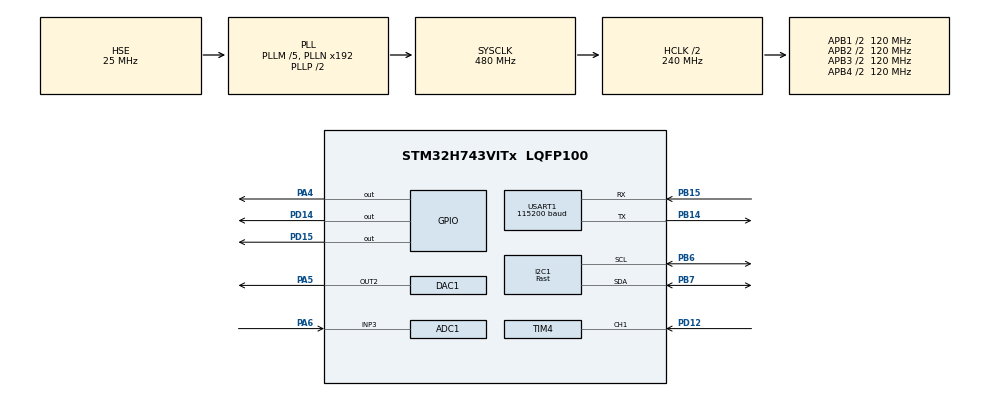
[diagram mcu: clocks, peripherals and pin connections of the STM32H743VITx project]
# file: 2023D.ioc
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ADC1.Channel-0\#ChannelRegularConversion=ADC_CHANNEL_3
ADC1.ContinuousConvMode=ENABLE
ADC1.ConversionDataManagement=ADC_CONVERSIONDATA_DMA_CIRCULAR
ADC1.DiscontinuousConvMode=DISABLE
ADC1.EnableInjectedConversion=DISABLE
ADC1.ExternalTrigConv=ADC_EXTERNALTRIG_T15_TRGO
ADC1.Mode=ADC_MODE_INDEPENDENT
ADC1.NbrOfConversion=1
ADC1.NbrOfConversionFlag=1
ADC1.OffsetNumber-0\#ChannelRegularConversion=ADC_OFFSET_NONE
ADC1.OffsetSignedSaturation-0\#ChannelRegularConversion=DISABLE
ADC1.OversamplingMode=DISABLE
ADC1.Rank-0\#ChannelRegularConversion=1
ADC1.SamplingTime-0\#ChannelRegularConversion=ADC_SAMPLETIME_387CYCLES_5
ADC1.master=1
CORTEX_M7.AccessPermission-Cortex_Memory_Protection_Unit_Region0_Settings=MPU_REGION_FULL_ACCESS
CORTEX_M7.AccessPermission-Cortex_Memory_Protection_Unit_Region1_Settings=MPU_REGION_FULL_ACCESS
CORTEX_M7.AccessPermission-Cortex_Memory_Protection_Unit_Region2_Settings=MPU_REGION_FULL_ACCESS
CORTEX_M7.AccessPermission-Cortex_Memory_Protection_Unit_Region3_Settings=MPU_REGION_FULL_ACCESS
CORTEX_M7.AccessPermission-Cortex_Memory_Protection_Unit_Region4_Settings=MPU_REGION_FULL_ACCESS
CORTEX_M7.AccessPermission_S-Cortex_Memory_Protection_Unit_Region1_Settings_S=MPU_REGION_FULL_ACCESS
CORTEX_M7.AccessPermission_S-Cortex_Memory_Protection_Unit_Region2_Settings_S=MPU_REGION_FULL_ACCESS
CORTEX_M7.AccessPermission_Spec=MPU_REGION_FULL_ACCESS
CORTEX_M7.BaseAddress-Cortex_Memory_Protection_Unit_Region0_Settings=0x24000000
CORTEX_M7.BaseAddress-Cortex_Memory_Protection_Unit_Region1_Settings=0x30000000
CORTEX_M7.BaseAddress-Cortex_Memory_Protection_Unit_Region2_Settings=0x30020000
CORTEX_M7.BaseAddress-Cortex_Memory_Protection_Unit_Region3_Settings=0x30040000
CORTEX_M7.BaseAddress-Cortex_Memory_Protection_Unit_Region4_Settings=0x38000000
CORTEX_M7.BaseAddress_S-Cortex_Memory_Protection_Unit_Region1_Settings_S=0x30000000
CORTEX_M7.BaseAddress_S-Cortex_Memory_Protection_Unit_Region2_Settings_S=0x30020000
CORTEX_M7.BaseAddress_Spec=0x24000000
CORTEX_M7.CPU_DCache=Enabled
CORTEX_M7.CPU_ICache=Enabled
CORTEX_M7.DisableExec_S-Cortex_Memory_Protection_Unit_Region1_Settings_S=MPU_INSTRUCTION_ACCESS_ENABLE
CORTEX_M7.DisableExec_S-Cortex_Memory_Protection_Unit_Region2_Settings_S=MPU_INSTRUCTION_ACCESS_ENABLE
CORTEX_M7.DisableExec_Spec=MPU_INSTRUCTION_ACCESS_ENABLE
CORTEX_M7.Enable-Cortex_Memory_Protection_Unit_Region0_Settings=MPU_REGION_ENABLE
CORTEX_M7.Enable-Cortex_Memory_Protection_Unit_Region1_Settings=MPU_REGION_ENABLE
CORTEX_M7.Enable-Cortex_Memory_Protection_Unit_Region2_Settings=MPU_REGION_ENABLE
CORTEX_M7.Enable-Cortex_Memory_Protection_Unit_Region3_Settings=MPU_REGION_ENABLE
CORTEX_M7.Enable-Cortex_Memory_Protection_Unit_Region4_Settings=MPU_REGION_ENABLE
CORTEX_M7.Enable_S-Cortex_Memory_Protection_Unit_Region1_Settings_S=MPU_REGION_ENABLE
CORTEX_M7.Enable_S-Cortex_Memory_Protection_Unit_Region2_Settings_S=MPU_REGION_ENABLE
CORTEX_M7.IsBufferable-Cortex_Memory_Protection_Unit_Region0_Settings=MPU_ACCESS_BUFFERABLE
CORTEX_M7.IsBufferable_S-Cortex_Memory_Protection_Unit_Region1_Settings_S=MPU_ACCESS_NOT_BUFFERABLE
CORTEX_M7.IsBufferable_Spec=MPU_ACCESS_BUFFERABLE
CORTEX_M7.IsCacheable-Cortex_Memory_Protection_Unit_Region0_Settings=MPU_ACCESS_CACHEABLE
CORTEX_M7.IsCacheable_S-Cortex_Memory_Protection_Unit_Region1_Settings_S=MPU_ACCESS_NOT_CACHEABLE
CORTEX_M7.IsCacheable_Spec=MPU_ACCESS_CACHEABLE
CORTEX_M7.IsShareable_Spec=MPU_ACCESS_NOT_SHAREABLE
CORTEX_M7.MPU_Control=MPU_PRIVILEGED_DEFAULT
CORTEX_M7.Size-Cortex_Memory_Protection_Unit_Region0_Settings=MPU_REGION_SIZE_512KB
CORTEX_M7.Size-Cortex_Memory_Protection_Unit_Region1_Settings=MPU_REGION_SIZE_128KB
CORTEX_M7.Size-Cortex_Memory_Protection_Unit_Region2_Settings=MPU_REGION_SIZE_128KB
CORTEX_M7.Size-Cortex_Memory_Protection_Unit_Region3_Settings=MPU_REGION_SIZE_32KB
CORTEX_M7.Size-Cortex_Memory_Protection_Unit_Region4_Settings=MPU_REGION_SIZE_64KB
CORTEX_M7.Size_S-Cortex_Memory_Protection_Unit_Region1_Settings_S=MPU_REGION_SIZE_128KB
CORTEX_M7.Size_S-Cortex_Memory_Protection_Unit_Region2_Settings_S=MPU_REGION_SIZE_128KB
CORTEX_M7.Size_Spec=MPU_REGION_SIZE_512KB
CORTEX_M7.SubRegionDisable_Spec=0x0
CORTEX_M7.TypeExtField-Cortex_Memory_Protection_Unit_Region0_Settings=MPU_TEX_LEVEL1
CORTEX_M7.TypeExtField-Cortex_Memory_Protection_Unit_Region1_Settings=MPU_TEX_LEVEL1
CORTEX_M7.TypeExtField-Cortex_Memory_Protection_Unit_Region2_Settings=MPU_TEX_LEVEL1
CORTEX_M7.TypeExtField-Cortex_Memory_Protection_Unit_Region3_Settings=MPU_TEX_LEVEL1
CORTEX_M7.TypeExtField-Cortex_Memory_Protection_Unit_Region4_Settings=MPU_TEX_LEVEL1
CORTEX_M7.TypeExtField_S-Cortex_Memory_Protection_Unit_Region1_Settings_S=MPU_TEX_LEVEL1
CORTEX_M7.TypeExtField_S-Cortex_Memory_Protection_Unit_Region2_Settings_S=MPU_TEX_LEVEL1
CORTEX_M7.TypeExtField_Spec=MPU_TEX_LEVEL1
DAC1.DAC2_OutputBuffer-DAC_OUT2=DAC_OUTPUTBUFFER_DISABLE
DAC1.DAC_Channel-DAC_OUT2=DAC_CHANNEL_2
DAC1.DAC_Trigger-DAC_OUT2=DAC_TRIGGER_T6_TRGO
Dma.ADC1.1.Direction=DMA_PERIPH_TO_MEMORY
Dma.ADC1.1.EventEnable=DISABLE
Dma.ADC1.1.FIFOMode=DMA_FIFOMODE_DISABLE
Dma.ADC1.1.Instance=DMA1_Stream0
Dma.ADC1.1.MemDataAlignment=DMA_MDATAALIGN_HALFWORD
Dma.ADC1.1.MemInc=DMA_MINC_ENABLE
Dma.ADC1.1.Mode=DMA_NORMAL
Dma.ADC1.1.PeriphDataAlignment=DMA_PDATAALIGN_HALFWORD
Dma.ADC1.1.PeriphInc=DMA_PINC_DISABLE
Dma.ADC1.1.Polarity=HAL_DMAMUX_REQ_GEN_RISING
Dma.ADC1.1.Priority=DMA_PRIORITY_LOW
Dma.ADC1.1.RequestNumber=1
Dma.ADC1.1.SignalID=NONE
Dma.ADC1.1.SyncEnable=DISABLE
Dma.ADC1.1.SyncPolarity=HAL_DMAMUX_SYNC_NO_EVENT
Dma.ADC1.1.SyncRequestNumber=1
Dma.ADC1.1.SyncSignalID=NONE
Dma.DAC1_CH2.0.Direction=DMA_MEMORY_TO_PERIPH
Dma.DAC1_CH2.0.EventEnable=DISABLE
Dma.DAC1_CH2.0.FIFOMode=DMA_FIFOMODE_DISABLE
Dma.DAC1_CH2.0.Instance=DMA1_Stream1
Dma.DAC1_CH2.0.MemDataAlignment=DMA_MDATAALIGN_HALFWORD
Dma.DAC1_CH2.0.MemInc=DMA_MINC_ENABLE
Dma.DAC1_CH2.0.Mode=DMA_CIRCULAR
Dma.DAC1_CH2.0.PeriphDataAlignment=DMA_PDATAALIGN_HALFWORD
Dma.DAC1_CH2.0.PeriphInc=DMA_PINC_DISABLE
Dma.DAC1_CH2.0.Polarity=HAL_DMAMUX_REQ_GEN_RISING
Dma.DAC1_CH2.0.Priority=DMA_PRIORITY_LOW
Dma.DAC1_CH2.0.RequestNumber=1
Dma.DAC1_CH2.0.SignalID=NONE
Dma.DAC1_CH2.0.SyncEnable=DISABLE
Dma.DAC1_CH2.0.SyncPolarity=HAL_DMAMUX_SYNC_NO_EVENT
Dma.DAC1_CH2.0.SyncRequestNumber=1
Dma.DAC1_CH2.0.SyncSignalID=NONE
Dma.Request0=DAC1_CH2
Dma.Request1=ADC1
I2C1.I2C_Speed_Mode=I2C_Fast
I2C1.Timing=0x00B03FDB
Mcu.Family=STM32H7
Mcu.Name=STM32H743VITx
Mcu.Package=LQFP100
NVIC.DMA1_Stream0_IRQn=true\:0\:0\:false\:false\:true\:false\:true\:true
NVIC.DMA1_Stream1_IRQn=true\:0\:0\:false\:false\:true\:false\:true\:true
NVIC.PriorityGroup=NVIC_PRIORITYGROUP_4
NVIC.TIM4_IRQn=true\:0\:0\:false\:false\:true\:true\:true\:true
NVIC.USART1_IRQn=true\:0\:0\:false\:false\:true\:true\:true\:true
PA13\ (JTMS/SWDIO).Mode=Serial_Wire
PA13\ (JTMS/SWDIO).Signal=DEBUG_JTMS-SWDIO
PA14\ (JTCK/SWCLK).Mode=Serial_Wire
PA14\ (JTCK/SWCLK).Signal=DEBUG_JTCK-SWCLK
PA4.Signal=GPIO_Output
PA5.Signal=COMP_DAC12_group
PA6.GPIO_Mode=GPIO_MODE_ANALOG
PA6.GPIO_PuPd=GPIO_NOPULL
PA6.Signal=ADCx_INP3
PB14.Mode=Asynchronous
PB14.Signal=USART1_TX
PB15.Mode=Asynchronous
PB15.Signal=USART1_RX
PB6.Mode=I2C
PB6.Signal=I2C1_SCL
PB7.Mode=I2C
PB7.Signal=I2C1_SDA
PD12.Signal=S_TIM4_CH1
PD14.Signal=GPIO_Output
PD15.Signal=GPIO_Output
PH0-OSC_IN\ (PH0).Mode=HSE-External-Oscillator
PH0-OSC_IN\ (PH0).Signal=RCC_OSC_IN
PH1-OSC_OUT\ (PH1).Mode=HSE-External-Oscillator
PH1-OSC_OUT\ (PH1).Signal=RCC_OSC_OUT
ProjectManager.HeapSize=0x3000
ProjectManager.StackSize=0x1000
ProjectManager.TargetToolchain=STM32CubeIDE
RCC.ADCFreq_Value=80000000
RCC.APB1Freq_Value=120000000
RCC.APB2Freq_Value=120000000
RCC.APB3Freq_Value=120000000
RCC.APB4Freq_Value=120000000
RCC.CortexFreq_Value=480000000
RCC.D1PPRE=RCC_APB3_DIV2
RCC.D2PPRE1=RCC_APB1_DIV2
RCC.D2PPRE2=RCC_APB2_DIV2
RCC.D3PPRE=RCC_APB4_DIV2
RCC.DIVM1=5
RCC.DIVM2=10
RCC.DIVN1=192
RCC.DIVN2=384
RCC.DIVN3=128
RCC.DIVP2=12
RCC.HCLKFreq_Value=240000000
RCC.HPRE=RCC_HCLK_DIV2
RCC.HSE_Timout=5000
RCC.PLLSourceVirtual=RCC_PLLSOURCE_HSE
RCC.ProductRev=revV
RCC.SYSCLKFreq_VALUE=480000000
RCC.SYSCLKSource=RCC_SYSCLKSOURCE_PLLCLK
RCC.USBFreq_Value=480000000
SH.ADCx_INP3.0=ADC1_INP3,IN3-Single-Ended
SH.COMP_DAC12_group.0=DAC1_OUT2,DAC_OUT2
SH.S_TIM4_CH1.0=TIM4_CH1,TriggerSource_TI1FP1
SH.S_TIM4_CH1.1=TIM4_CH1,Input_Capture1_from_TI1
TIM15.AutoReloadPreload=TIM_AUTORELOAD_PRELOAD_ENABLE
TIM15.ClockDivision=TIM_CLOCKDIVISION_DIV1
TIM15.Period=2-1
TIM15.Prescaler=2-1
TIM15.TIM_MasterOutputTrigger=TIM_TRGO_UPDATE
TIM4.Channel-Input_Capture1_from_TI1=TIM_CHANNEL_1
TIM4.Period=1000 -1
TIM4.Prescaler=240 - 1
TIM6.AutoReloadPreload=TIM_AUTORELOAD_PRELOAD_ENABLE
TIM6.Period=200 - 1
TIM6.Prescaler=120 - 1
TIM6.TIM_MasterOutputTrigger=TIM_TRGO_UPDATE
TIM7.Prescaler=239
USART1.BaudRate=115200
USART1.VirtualMode-Asynchronous=VM_ASYNC
VP_TIM15_VS_ClockSourceINT.Mode=Internal
VP_TIM4_VS_ClockSourceINT.Mode=Internal
VP_TIM4_VS_ControllerModeReset.Mode=Reset Mode
VP_TIM6_VS_ClockSourceINT.Mode=Enable_Timer
VP_TIM7_VS_ClockSourceINT.Mode=Enable_Timer
board=custom

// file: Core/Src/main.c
/* USER CODE BEGIN Header */
/**
  ******************************************************************************
  * @file           : main.c
  * @brief          : Main program body
  ******************************************************************************
  * @attention
  *
  * Copyright (c) 2024 STMicroelectronics.
  * All rights reserved.
  *
  * This software is licensed under terms that can be found in the LICENSE file
  * in the root directory of this software component.
  * If no LICENSE file comes with this software, it is provided AS-IS.
  *
  ******************************************************************************
  */
/* USER CODE END Header */
#include "main.h"
#include "adc.h"
#include "dac.h"
#include "dma.h"
#include "i2c.h"
#include "tim.h"
#include "usart.h"
#include "gpio.h"

/* USER CODE BEGIN Includes */
#include <stdio.h>
#include <stdlib.h>
#include <complex.h>
#include <string.h>
#include "FO.h"
#include "signals.h"
#include "judge.h"
/* USER CODE END Includes */

/* USER CODE BEGIN PTD */

ALIGN_32BYTES (uint16_t adc1_data[FO_LENGTH]) 	__attribute__((section(".ARM.__at_0x30000000")));
__IO uint8_t AdcConvEnd = 0;

ALIGN_32BYTES (uint16_t Dat[200]) 	__attribute__((section(".ARM.__at_0x38000000")));

double v[FO_LENGTH];
double demodulated_signal[200];
double out[FO_LENGTH] = {0};
double sample_fre = 0;
int value = 0;

wave_arg arg;
mod_arg mod_config = {2000000.0, 0.0};

void adc_init(void)
{
	HAL_UART_Transmit(&huart1,(uint8_t *)"start_adc\n",sizeof("start_adc\n"),HAL_MAX_DELAY);
	MX_ADC1Sampling_Handler(sample_fre, value);
	HAL_Delay(1);
	if (HAL_ADCEx_Calibration_Start(&hadc1, ADC_CALIB_OFFSET, ADC_SINGLE_ENDED) != HAL_OK)
	{
		HAL_UART_Transmit(&huart1,(uint8_t *)"hadc1 error with HAL_ADCEx_Calibration_Start\r\n",
				sizeof("hadc1 error with HAL_ADCEx_Calibration_Start\r\n"),HAL_MAX_DELAY);
			Error_Handler();
	}

	if (HAL_ADC_Start_DMA(&hadc1, (uint32_t *)adc1_data, FO_LENGTH) != HAL_OK)
	{
		HAL_UART_Transmit(&huart1,(uint8_t *)"hadc1 error with HAL_ADC_Start_DMA\r\n",
				sizeof("hadc1 error with HAL_ADC_Start_DMA\r\n"),HAL_MAX_DELAY);
			Error_Handler();
	}

	HAL_TIM_Base_Start(&htim15);
	while (!AdcConvEnd);
	AdcConvEnd = 0;
	HAL_ADC_DeInit(&hadc1);
	HAL_TIM_Base_Stop(&htim15);
}

void ADC_Get(double arr[])
{
	adc_init();
	double voltage;
//	char str[50];

	for (uint16_t temp = 0; temp< FO_LENGTH;temp++){
		voltage = ((double)adc1_data[temp]*3.3)/65535 *3;

		arr[temp] = voltage;
//		sprintf(str , "%.5f" , v[temp]);
//		HAL_UART_Transmit(&huart1,(uint8_t *)str , 7   ,HAL_MAX_DELAY);
//		HAL_UART_Transmit(&huart1 ,(uint8_t *)"\n", 1 , HAL_MAX_DELAY);
	}
}

/* USER CODE END PTD */

void SystemClock_Config(void);
static void MPU_Config(void);

int main(void)
{

  /* MPU Configuration--------------------------------------------------------*/
  MPU_Config();

  /* Enable I-Cache---------------------------------------------------------*/
  SCB_EnableICache();

  /* Enable D-Cache---------------------------------------------------------*/
  SCB_EnableDCache();

  /* MCU Configuration--------------------------------------------------------*/

  /* Reset of all peripherals, Initializes the Flash interface and the Systick. */
  HAL_Init();

  /* Configure the system clock */
  SystemClock_Config();

  /* Initialize all configured peripherals */
  MX_GPIO_Init();
  MX_DMA_Init();
  MX_I2C1_Init();
  MX_TIM15_Init();
  MX_DAC1_Init();
  MX_TIM7_Init();
  MX_USART1_UART_Init();
  MX_ADC1_Init();
  MX_TIM6_Init();
  MX_TIM4_Init();
  /* USER CODE BEGIN 2 */

  char str[50];
  double v_cpy[FO_LENGTH];
  ADC_Get(v);
  for (int i = 1 ;i < FO_LENGTH	; i++)
  {
	  sprintf(str , "%.5f" , v[i]);
	  HAL_UART_Transmit(&huart1,(uint8_t *)str , 7   ,HAL_MAX_DELAY);
	  HAL_UART_Transmit(&huart1 ,(uint8_t *)"\n", 1 , HAL_MAX_DELAY);
  }
  memcpy(v_cpy, v, FO_LENGTH);

  Blackman(FO_LENGTH, (1640 - FO_LENGTH/ 4), (1640 + FO_LENGTH / 4), v);
  FFT_Mag_sqrt(FO_LENGTH, v);

  for (int i = 0 ;i < FO_LENGTH / 2	; i++)
  {
	  sprintf(str , "%.5f" , v[i]);
	  HAL_UART_Transmit(&huart1,(uint8_t *)str , 7   ,HAL_MAX_DELAY);
	  HAL_UART_Transmit(&huart1 ,(uint8_t *)"\n", 1 , HAL_MAX_DELAY);
  }
  value = Analog_Judge(arg, mod_config, v, v_cpy);
  Judger(value);

//  Demodulate_Init(v_cpy, v, FO_LENGTH, value);
//
//  ADC_Get(v);
//  memcpy(v_cpy, v, FO_LENGTH);
//
//  for (int i = 0 ;i < FO_LENGTH ; i++)
//  {
//	  sprintf(str , "%.5f" , v[i]);
//	  HAL_UART_Transmit(&huart1,(uint8_t *)str , 7   ,HAL_MAX_DELAY);
//	  HAL_UART_Transmit(&huart1 ,(uint8_t *)"\n", 1 , HAL_MAX_DELAY);
//  }
//
//  Blackman(FO_LENGTH, (1640 - FO_LENGTH/ 4), (1640 + FO_LENGTH / 4), v);
//  FFT_Mag_sqrt(FO_LENGTH, v);

//  for (int i = 0 ;i < FO_LENGTH / 2	; i++)
//  {
//	  sprintf(str , "%.5f" , v[i]);
//	  HAL_UART_Transmit(&huart1,(uint8_t *)str , 7   ,HAL_MAX_DELAY);
//	  HAL_UART_Transmit(&huart1 ,(uint8_t *)"\n", 1 , HAL_MAX_DELAY);
//  }

//  SineWave_FM_Demodulate(out, v_cpy, FO_LENGTH, 5, mod_config, arg);
//
//  for (int i = 0 ;i < FO_LENGTH ; i++)
//  {
//	  sprintf(str , "%.5f" , out[i]);
//	  HAL_UART_Transmit(&huart1,(uint8_t *)str , 7   ,HAL_MAX_DELAY);
//	  HAL_UART_Transmit(&huart1 ,(uint8_t *)"\n", 1 , HAL_MAX_DELAY);
//  }

//  wave_arg arg = {0.5, 1000.0, 0.0};
//
//
//
//  SineWave_Generator(demodulated_signal, 200, 1, arg);
//  for (int i = 0 ; i < 200 ; i++)
//  {
//	  Dat[i] = (uint16_t)(demodulated_signal[i] * 4095 + 2048);
//  }
//  HAL_DAC_Start_DMA(&hdac1,DAC_CHANNEL_2,(uint32_t *)Dat,200,DAC_ALIGN_12B_R);
//  HAL_TIM_Base_Start(&htim6);

//  if (value == 5)
//  {
//	  PSK_Demodulate(demodulated_signal);
//	  ADC_Get(demodulated_signal);
//	  for (int i = 1 ;i < FO_LENGTH	; i++)
//	  {
//		  sprintf(str , "%.5f" , demodulated_signal[i]);
//		  HAL_UART_Transmit(&huart1,(uint8_t *)str , 7   ,HAL_MAX_DELAY);
//		  HAL_UART_Transmit(&huart1 ,(uint8_t *)"\n", 1 , HAL_MAX_DELAY);
//	  }
//
//  }
//
//  int cnt = 0;
//
//  for (int i = 0 ; i < FO_LENGTH - 1; i++)
//  {
//	  if ((demodulated_signal[i] - demodulated_signal[i + 1]) > 1)
//	  {
//		  Dat[cnt] = (uint16_t)(2048);
//		  cnt++;
//	  }
//	  else if ((demodulated_signal[i] - demodulated_signal[i + 1]) < -1)
//	  {
//		  Dat[cnt] = (uint16_t)(4095);
//		  cnt++;
//	  }
//  }
//
//  HAL_DAC_Start_DMA(&hdac1,DAC_CHANNEL_2,(uint32_t *)Dat,cnt,DAC_ALIGN_12B_R);
//  HAL_TIM_Base_Start(&htim6);

  /* USER CODE END 2 */

  /* Infinite loop */
  while (1)
  {

  }
}

void SystemClock_Config(void)
{
  RCC_OscInitTypeDef RCC_OscInitStruct = {0};
  RCC_ClkInitTypeDef RCC_ClkInitStruct = {0};

  /** Supply configuration update enable
  */
  HAL_PWREx_ConfigSupply(PWR_LDO_SUPPLY);

  /** Configure the main internal regulator output voltage
  */
  __HAL_PWR_VOLTAGESCALING_CONFIG(PWR_REGULATOR_VOLTAGE_SCALE1);

  while(!__HAL_PWR_GET_FLAG(PWR_FLAG_VOSRDY)) {}

  __HAL_RCC_SYSCFG_CLK_ENABLE();
  __HAL_PWR_VOLTAGESCALING_CONFIG(PWR_REGULATOR_VOLTAGE_SCALE0);

  while(!__HAL_PWR_GET_FLAG(PWR_FLAG_VOSRDY)) {}

  /** Macro to configure the PLL clock source
  */
  __HAL_RCC_PLL_PLLSOURCE_CONFIG(RCC_PLLSOURCE_HSE);

  /** Initializes the RCC Oscillators according to the specified parameters
  * in the RCC_OscInitTypeDef structure.
  */
  RCC_OscInitStruct.OscillatorType = RCC_OSCILLATORTYPE_HSE;
  RCC_OscInitStruct.HSEState = RCC_HSE_ON;
  RCC_OscInitStruct.PLL.PLLState = RCC_PLL_ON;
  RCC_OscInitStruct.PLL.PLLSource = RCC_PLLSOURCE_HSE;
  RCC_OscInitStruct.PLL.PLLM = 5;
  RCC_OscInitStruct.PLL.PLLN = 192;
  RCC_OscInitStruct.PLL.PLLP = 2;
  RCC_OscInitStruct.PLL.PLLQ = 2;
  RCC_OscInitStruct.PLL.PLLR = 2;
  RCC_OscInitStruct.PLL.PLLRGE = RCC_PLL1VCIRANGE_2;
  RCC_OscInitStruct.PLL.PLLVCOSEL = RCC_PLL1VCOWIDE;
  RCC_OscInitStruct.PLL.PLLFRACN = 0;
  if (HAL_RCC_OscConfig(&RCC_OscInitStruct) != HAL_OK)
  {
    Error_Handler();
  }

  /** Initializes the CPU, AHB and APB buses clocks
  */
  RCC_ClkInitStruct.ClockType = RCC_CLOCKTYPE_HCLK|RCC_CLOCKTYPE_SYSCLK
                              |RCC_CLOCKTYPE_PCLK1|RCC_CLOCKTYPE_PCLK2
                              |RCC_CLOCKTYPE_D3PCLK1|RCC_CLOCKTYPE_D1PCLK1;
  RCC_ClkInitStruct.SYSCLKSource = RCC_SYSCLKSOURCE_PLLCLK;
  RCC_ClkInitStruct.SYSCLKDivider = RCC_SYSCLK_DIV1;
  RCC_ClkInitStruct.AHBCLKDivider = RCC_HCLK_DIV2;
  RCC_ClkInitStruct.APB3CLKDivider = RCC_APB3_DIV2;
  RCC_ClkInitStruct.APB1CLKDivider = RCC_APB1_DIV2;
  RCC_ClkInitStruct.APB2CLKDivider = RCC_APB2_DIV2;
  RCC_ClkInitStruct.APB4CLKDivider = RCC_APB4_DIV2;

  if (HAL_RCC_ClockConfig(&RCC_ClkInitStruct, FLASH_LATENCY_4) != HAL_OK)
  {
    Error_Handler();
  }
}

/* USER CODE BEGIN 4 */

void HAL_ADC_ConvCpltCallback(ADC_HandleTypeDef* hadc)
{
   if(hadc->Instance == ADC1)
	{
      //SCB_InvalidateDCache_by_Addr((uint32_t *) &adc1_data[0], ADC1_BUFFER_SIZE);
   }
	 AdcConvEnd = 1;
}
/* USER CODE END 4 */

/* MPU Configuration */

void MPU_Config(void)
{
  MPU_Region_InitTypeDef MPU_InitStruct = {0};

  /* Disables the MPU */
  HAL_MPU_Disable();

  /** Initializes and configures the Region and the memory to be protected
  */
  MPU_InitStruct.Enable = MPU_REGION_ENABLE;
  MPU_InitStruct.Number = MPU_REGION_NUMBER0;
  MPU_InitStruct.BaseAddress = 0x24000000;
  MPU_InitStruct.Size = MPU_REGION_SIZE_512KB;
  MPU_InitStruct.SubRegionDisable = 0x0;
  MPU_InitStruct.TypeExtField = MPU_TEX_LEVEL1;
  MPU_InitStruct.AccessPermission = MPU_REGION_FULL_ACCESS;
  MPU_InitStruct.DisableExec = MPU_INSTRUCTION_ACCESS_ENABLE;
  MPU_InitStruct.IsShareable = MPU_ACCESS_NOT_SHAREABLE;
  MPU_InitStruct.IsCacheable = MPU_ACCESS_CACHEABLE;
  MPU_InitStruct.IsBufferable = MPU_ACCESS_BUFFERABLE;

  HAL_MPU_ConfigRegion(&MPU_InitStruct);

  /** Initializes and configures the Region and the memory to be protected
  */
  MPU_InitStruct.Number = MPU_REGION_NUMBER1;
  MPU_InitStruct.BaseAddress = 0x30000000;
  MPU_InitStruct.Size = MPU_REGION_SIZE_128KB;
  MPU_InitStruct.IsCacheable = MPU_ACCESS_NOT_CACHEABLE;
  MPU_InitStruct.IsBufferable = MPU_ACCESS_NOT_BUFFERABLE;

  HAL_MPU_ConfigRegion(&MPU_InitStruct);

  /** Initializes and configures the Region and the memory to be protected
  */
  MPU_InitStruct.Number = MPU_REGION_NUMBER2;
  MPU_InitStruct.BaseAddress = 0x30020000;

  HAL_MPU_ConfigRegion(&MPU_InitStruct);

  /** Initializes and configures the Region and the memory to be protected
  */
  MPU_InitStruct.Number = MPU_REGION_NUMBER3;
  MPU_InitStruct.BaseAddress = 0x30040000;
  MPU_InitStruct.Size = MPU_REGION_SIZE_32KB;

  HAL_MPU_ConfigRegion(&MPU_InitStruct);

  /** Initializes and configures the Region and the memory to be protected
  */
  MPU_InitStruct.Number = MPU_REGION_NUMBER4;
  MPU_InitStruct.BaseAddress = 0x38000000;
  MPU_InitStruct.Size = MPU_REGION_SIZE_64KB;

  HAL_MPU_ConfigRegion(&MPU_InitStruct);
  /* Enables the MPU */
  HAL_MPU_Enable(MPU_PRIVILEGED_DEFAULT);

}

void Error_Handler(void)
{
  __disable_irq();
  while (1)
  {
  }
}
